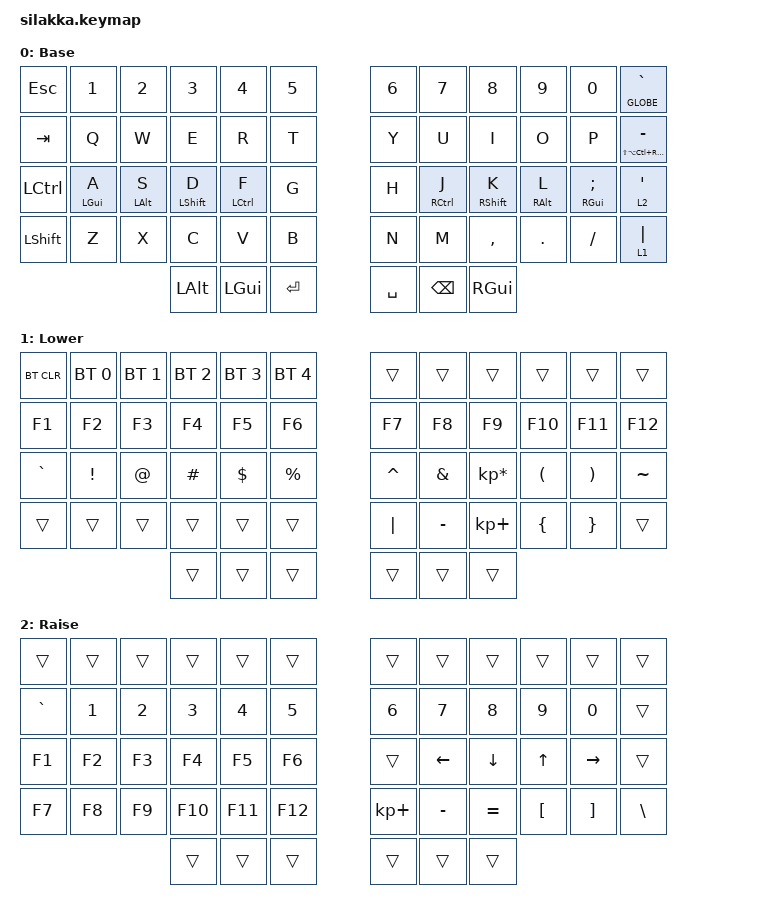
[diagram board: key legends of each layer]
/*
 * Copyright (c) 2020 The ZMK Contributors
 *
 * SPDX-License-Identifier: MIT
 */

#include <behaviors.dtsi>
#include <dt-bindings/zmk/bt.h>
#include <dt-bindings/zmk/keys.h>

/ {
    keymap {
        compatible = "zmk,keymap";

        default_layer {
            // ------------------------------------------------------------------------------------------------------------
            // |  ESC  |  1  |  2  |  3   |  4   |  5   |                   |  6   |  7    |  8    |  9   |   0   |   `   |
            // |  TAB  |  Q  |  W  |  E   |  R   |  T   |                   |  Y   |  U    |  I    |  O   |   P   |   -   |
            // |  CTRL |  A  |  S  |  D   |  F   |  G   |                   |  H   |  J    |  K    |  L   |   ;   |   '   |
            // | SHIFT |  Z  |  X  |  C   |  V   |  B   |                   |  N   |  M    |  ,    |  .   |   /   | SHIFT |
            //                            | LOWER| RETURN| GUI |   | BSPC  | SPACE | RAISE|

            display-name = "Base";
            bindings = <
&kp ESC       &kp N1          &kp N2          &kp N3            &kp N4         &kp N5         &kp N6  &kp N7       &kp N8             &kp N9           &kp N0                   &mt GLOBE GRAVE
&kp TAB       &kp Q           &kp W           &kp E             &kp R          &kp T          &kp Y   &kp U        &kp I              &kp O            &kp P                    &mt LS(LA(LC(RIGHT_GUI))) MINUS
&kp LCTRL     &mt LEFT_GUI A  &mt LEFT_ALT S  &mt LEFT_SHIFT D  &mt LCTRL F    &kp G          &kp H   &mt RCTRL J  &mt RIGHT_SHIFT K  &mt RIGHT_ALT L  &mt RIGHT_GUI SEMICOLON  &lt 2 APOS
&kp LSHFT     &kp Z           &kp X           &kp C             &kp V          &kp B          &kp N   &kp M        &kp COMMA          &kp DOT          &kp FSLH                 &lt 1 PIPE
&kp LEFT_ALT  &kp LEFT_GUI    &kp RET         &kp SPACE         &kp BACKSPACE  &kp RIGHT_GUI
            >;
        };

        lower_layer {
            // ------------------------------------------------------------------------------------------------------------
            // | BTCLR | BT1 | BT2 |  BT3 |  BT4 |  BT5 |                   |      |       |       |      |       |       |
            // |  F1   |  F2 |  F3 |  F4  |  F5  |  F6  |                   |  F7  |  F8   |  F9   |  F10 |  F11  |  F12  |
            // |   `   |  !  |  @  |  #   |  $   |  %   |                   |  ^   |  &    |  *    |  (   |   )   |   ~   |
            // |       |     |     |      |      |      |                   |      |  _    |  +    |  {   |   }   |  "|"  |
            //                            |      |      |      |   |        |      |       |

            display-name = "Lower";
            bindings = <
&bt BT_CLR  &bt BT_SEL 0  &bt BT_SEL 1  &bt BT_SEL 2  &bt BT_SEL 3  &bt BT_SEL 4  &trans     &trans     &trans           &trans    &trans    &trans
&kp F1      &kp F2        &kp F3        &kp F4        &kp F5        &kp F6        &kp F7     &kp F8     &kp F9           &kp F10   &kp F11   &kp F12
&kp GRAVE   &kp EXCL      &kp AT        &kp HASH      &kp DOLLAR    &kp PRCNT     &kp CARET  &kp AMPS   &kp KP_MULTIPLY  &kp LPAR  &kp RPAR  &kp TILDE
&trans      &trans        &trans        &trans        &trans        &trans        &kp PIPE   &kp MINUS  &kp KP_PLUS      &kp LBRC  &kp RBRC  &trans
&trans      &trans        &trans        &trans        &trans        &trans
            >;
        };

        raise_layer {
            // ------------------------------------------------------------------------------------------------------------
            // |       |     |     |      |      |      |                   |      |       |       |      |       |       |
            // |   `   |  1  |  2  |  3   |  4   |  5   |                   |  6   |   7   |   8   |  9   |   0   |       |
            // |   F1  |  F2 |  F3 |  F4  |  F5  |  F6  |                   |      |   <-  |   v   |  ^   |  ->   |       |
            // |   F7  |  F8 |  F9 |  F10 |  F11 |  F12 |                   |  +   |   -   |   =   |  [   |   ]   |   \   |
            //                            |      |      |      |   |        |      |       |

            display-name = "Raise";
            bindings = <
&trans     &trans  &trans  &trans   &trans   &trans   &trans       &trans     &trans     &trans    &trans     &trans
&kp GRAVE  &kp N1  &kp N2  &kp N3   &kp N4   &kp N5   &kp N6       &kp N7     &kp N8     &kp N9    &kp N0     &trans
&kp F1     &kp F2  &kp F3  &kp F4   &kp F5   &kp F6   &trans       &kp LEFT   &kp DOWN   &kp UP    &kp RIGHT  &trans
&kp F7     &kp F8  &kp F9  &kp F10  &kp F11  &kp F12  &kp KP_PLUS  &kp MINUS  &kp EQUAL  &kp LBKT  &kp RBKT   &kp BSLH
&trans     &trans  &trans  &trans   &trans   &trans
            >;
        };

        extra_1 { status = "reserved"; };

        extra_2 { status = "reserved"; };

        extra_3 { status = "reserved"; };
    };
};
